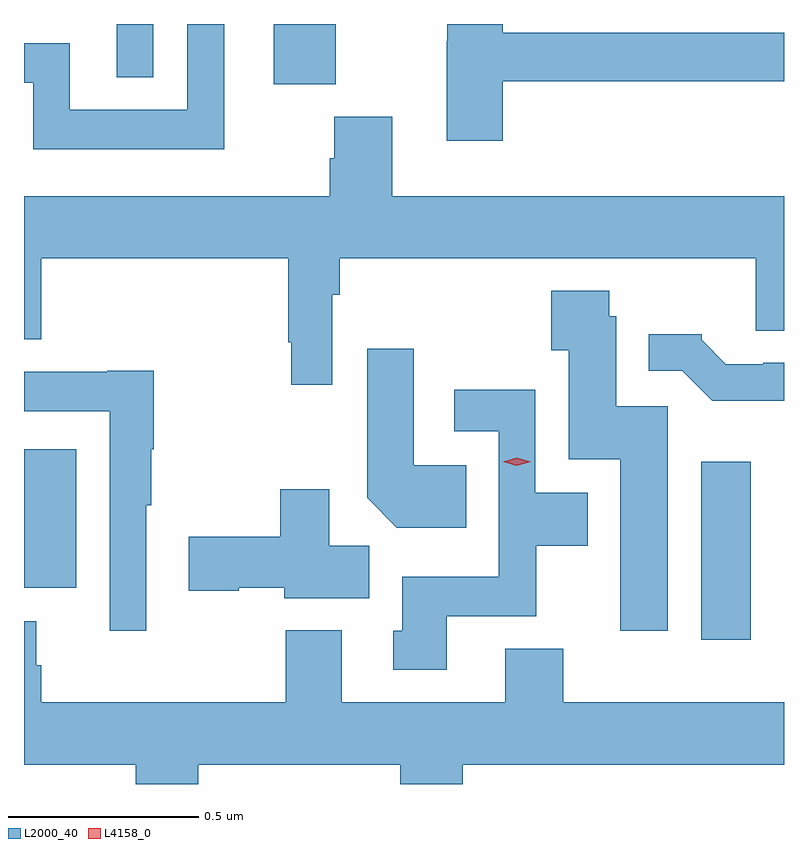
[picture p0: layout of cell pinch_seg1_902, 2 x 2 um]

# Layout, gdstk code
import gdstk
lib = gdstk.Library(unit=1e-6, precision=1e-09)
def R(c, l, rs):  # rectangles x0, y0, x1, y1
    for r in rs: c.add(gdstk.rectangle(r[:2], r[2:], *l))
def P(c, l, *ps):  # polygons
    for p in ps: c.add(gdstk.Polygon(p, *l))
L2000_40 = (2000, 40)
L4158_0 = (4158, 0)

pinch_seg1_902 = lib.new_cell('pinch_seg1_902')
R(pinch_seg1_902, L2000_40, [(508.343,526.752,508.474,527.221), (506.561,526.889,506.698,527.254), (507.218,528.214,507.382,528.373), (506.805,528.233,506.901,528.373)])
P(pinch_seg1_902, L2000_40, [(507.088,528.373),(506.991,528.373),(506.991,528.148),(506.682,528.148),(506.682,528.322),(506.561,528.322),(506.561,528.218),(506.585,528.218),(506.585,528.044),(507.088,528.044)],
  [(507.821,528.222),(508.561,528.222),(508.561,528.35),(507.821,528.35),(507.821,528.373),(507.675,528.373),(507.675,528.327),(507.674,528.327),(507.674,528.066),(507.821,528.066)],
  [(506.561,527.543),(506.606,527.543),(506.606,527.756),(507.256,527.756),(507.256,527.536),(507.264,527.536),(507.264,527.424),(507.372,527.424),(507.372,527.66),(507.392,527.66),(507.392,527.756),(508.487,527.756),(508.487,527.566),(508.561,527.566),(508.561,527.92),(507.53,527.92),(507.53,528.129),(507.377,528.129),(507.377,528.02),(507.365,528.02),(507.365,527.92),(506.561,527.92)],
  [(508.255,527.367),(508.12,527.367),(508.12,527.604),(508.101,527.604),(508.101,527.671),(507.949,527.671),(507.949,527.515),(507.995,527.515),(507.995,527.228),(508.13,527.228),(508.13,526.776),(508.255,526.776)],
  [(508.561,527.481),(508.507,527.481),(508.507,527.478),(508.408,527.478),(508.344,527.542),(508.344,527.557),(508.205,527.557),(508.205,527.46),(508.293,527.46),(508.372,527.382),(508.561,527.382)],
  [(507.725,527.212),(507.586,527.212),(507.586,527.518),(507.464,527.518),(507.464,527.126),(507.542,527.048),(507.725,527.048)],
  [(506.883,527.107),(506.896,527.107),(506.896,527.254),(506.903,527.254),(506.903,527.461),(506.78,527.461),(506.78,527.458),(506.561,527.458),(506.561,527.354),(506.787,527.354),(506.787,526.776),(506.883,526.776)],
  [(507.673,526.814),(507.909,526.814),(507.909,527),(508.045,527),(508.045,527.14),(507.906,527.14),(507.906,527.41),(507.693,527.41),(507.693,527.301),(507.81,527.301),(507.81,526.918),(507.557,526.918),(507.557,526.776),(507.533,526.776),(507.533,526.674),(507.673,526.674)],
  [(507.469,527),(507.364,527),(507.364,527.149),(507.235,527.149),(507.235,527.024),(506.994,527.024),(506.994,526.882),(507.126,526.882),(507.126,526.889),(507.246,526.889),(507.246,526.862),(507.469,526.862)],
  [(506.606,526.686),(506.593,526.686),(506.593,526.801),(506.561,526.801),(506.561,526.424),(506.855,526.424),(506.855,526.373),(507.02,526.373),(507.02,526.424),(507.551,526.424),(507.551,526.373),(507.716,526.373),(507.716,526.424),(508.561,526.424),(508.561,526.588),(507.98,526.588),(507.98,526.729),(507.827,526.729),(507.827,526.588),(507.397,526.588),(507.397,526.777),(507.25,526.777),(507.25,526.588),(506.606,526.588)])
P(pinch_seg1_902, L4158_0, [(507.858,527.211),(507.822,527.221),(507.822,527.221),(507.822,527.221),(507.858,527.231),(507.894,527.221),(507.894,527.221),(507.894,527.221)])

lib.write_gds('pinch_seg1_902.gds')
